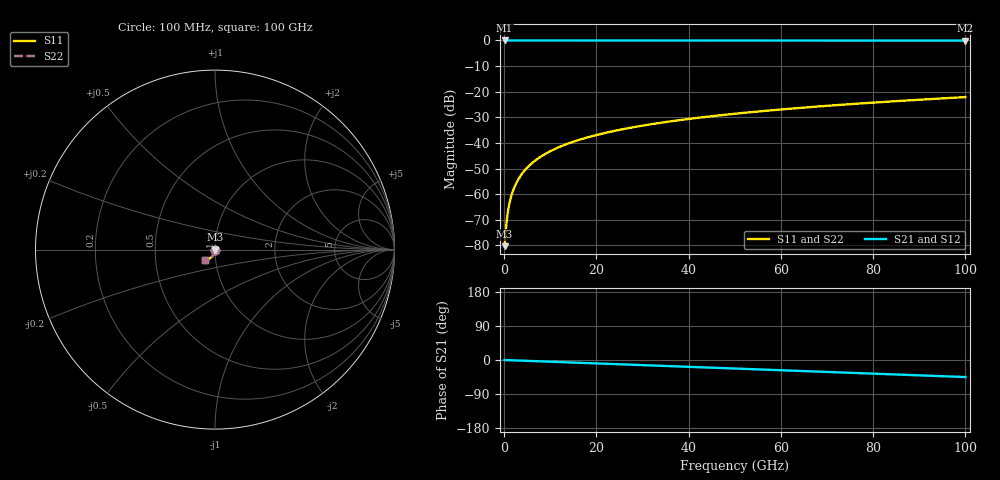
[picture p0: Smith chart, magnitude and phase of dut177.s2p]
! Touchstone file exported from HFSS 2026.1.0
!  File:  C:/ffzhzh/LocalFiles/Ansys_Project_Files/temp_train_TSV_177_1783507054_41296.aedt
!  Generated:  06:38:51 PM Jul  8, 2026
!  Design:  TSV
!  Project:  temp_train_TSV_177_1783507054_41296
! Variables:
!  h_bsmrdl = 2um
!  h_ox = 20um
!  h_rdl = 5um
!  h_sub = 91.02um
!  h_tmrdl = 5um
!  h_tsv = 91.02um
!  h_via = 3um
!  l_bsmrdl = 300um
!  l_sub = 426.5um
!  l_tmrdl = 200um
!  m_sub = 200um
!  pitch = 48.6um
!  r_tsv = 13.25um
!  s_tmrdl = 10um
!  w_bsmrdl = 18um
!  w_sub = 500um
!  w_tmrdl = 12um
!  x_tsv_center1 = 206um
!  x_tsv_center2 = 524um
!  x_tsv_center3 = 736um
!  x_tsv_center4 = 1054um
!  x_tsv_center5 = 1266um
!  x_tsv_center6 = 1584um
# GHz S MA R 50.000000
! Terminal data exported
! Port[1] = TSV1_1_T1
! Port[2] = TSV1_1_T2
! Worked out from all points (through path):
!   1000 points, 100 MHz to 100 GHz, reference 50 ohm
!   highest |S21| = 0.00 dB at 100 MHz (marker M1); lowest = -0.1 dB at 100 GHz (marker M2)
!   group delay of S21, straight-line fit = 1.25 ps
!   lowest |S11| = -80.3 dB at 100 MHz (marker M3), VSWR 1.00, Z = 50 - j0.00243 ohm
!   |S11| at or under -10 dB: start of sweep to end of sweep
!   |S22| runs from -80.3 to -22.1 dB; largest |S21 - S12| = 5.2e-15
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0.1  9.644e-05 -14.6  0.9999 -0.0  0.9999 -0.0  9.644e-05 -14.6
! Gamma 0 0 0 0
! Port Impedance 50 0 50 0
0.4  0.0002099 -41.5  0.9998 -0.2  0.9998 -0.2  0.0002099 -41.5
0.8  0.0004439 -57.7  0.9998 -0.4  0.9998 -0.4  0.0004439 -57.7
1  0.0005694 -62.4  0.9997 -0.5  0.9997 -0.5  0.0005694 -62.4
1.3  0.0007608 -67.1  0.9997 -0.6  0.9997 -0.6  0.0007608 -67.1
1.6  0.000955 -70.3  0.9997 -0.7  0.9997 -0.7  0.000955 -70.3
2.1  0.001284 -73.8  0.9996 -1.0  0.9996 -1.0  0.001284 -73.8
2.6  0.001621 -76.1  0.9996 -1.2  0.9996 -1.2  0.001621 -76.1
3.3  0.002101 -78.3  0.9995 -1.5  0.9995 -1.5  0.002101 -78.3
4.1  0.002659 -80.2  0.9995 -1.9  0.9995 -1.9  0.002659 -80.2
5.1  0.003366 -82.1  0.9994 -2.3  0.9994 -2.3  0.003366 -82.1
6.2  0.00415 -83.7  0.9993 -2.8  0.9993 -2.8  0.00415 -83.7
9  0.006165 -86.7  0.9992 -4.1  0.9992 -4.1  0.006165 -86.7
12.5  0.00872 -89.4  0.999 -5.6  0.999 -5.6  0.00872 -89.4
16.8  0.01189 -92.3  0.9988 -7.6  0.9988 -7.6  0.01189 -92.3
24.1  0.01731 -96.5  0.9985 -10.8  0.9985 -10.8  0.01731 -96.5
33.4  0.02432 -101.4  0.9981 -15.0  0.9981 -15.0  0.02432 -101.4
41.2  0.03028 -105.3  0.9978 -18.5  0.9978 -18.5  0.03028 -105.3
50.1  0.03716 -109.6  0.9974 -22.5  0.9974 -22.5  0.03716 -109.7
66.7  0.05032 -117.6  0.9964 -30.0  0.9964 -30.0  0.05032 -117.6
83.4  0.06407 -125.5  0.9952 -37.5  0.9952 -37.5  0.06407 -125.6
100  0.07838 -133.5  0.9937 -45.0  0.9937 -45.0  0.07838 -133.5
